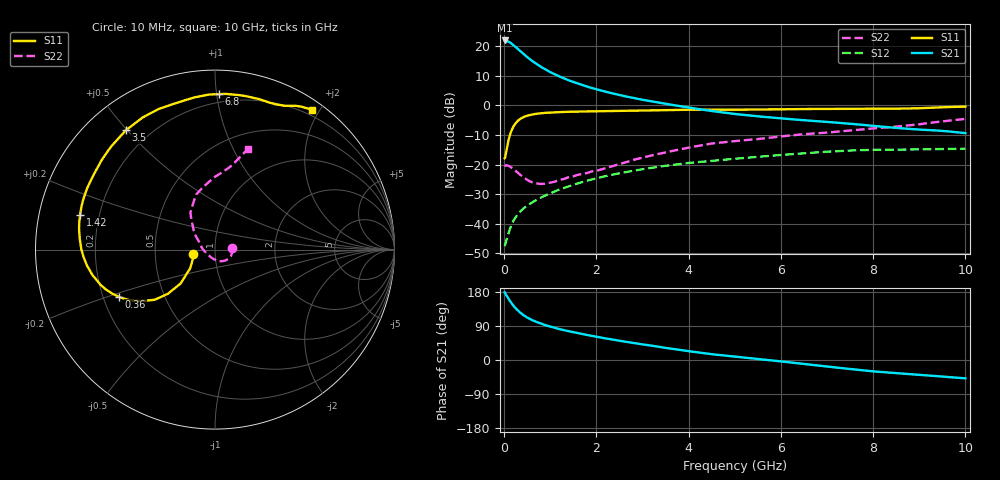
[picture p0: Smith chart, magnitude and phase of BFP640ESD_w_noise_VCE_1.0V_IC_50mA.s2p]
! Infineon Technologies  Discrete & RF Semiconductors
! BFP640ESD
! VCE =  1.0 V,  IC =  50 mA
! Common Emitter S-Parameters:  Jan 2016
# GHz  S  MA  R  50
!  f  S11  S21  S12  S22
! GHz  MAG  ANG  MAG  ANG  MAG  ANG  MAG  ANG
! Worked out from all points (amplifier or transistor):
!   233 points, 10 MHz to 10 GHz, reference 50 ohm
!   highest |S21| = 21.9 dB at 10 MHz (marker M1)
!   |S21| within 3 dB of that: start of sweep to 307.1 MHz
!   unconditionally stable (mu >= 1): start of sweep to end of sweep
!   at 200 MHz: K = 3.48, MAG = 21.3 dB, |S12| = -39.0 dB
!   at 1.74 GHz: K = 1.82, MAG = 10.9 dB, |S12| = -25.7 dB
!   at 10 GHz: K = 1.08, MAG = 0.9 dB, |S12| = -14.7 dB
!   lowest NFmin = 1.46 dB at 450 MHz
!   S11 on the Smith chart (normalised r, x): 10 MHz: 0.78, -0.04; 360 MHz: 0.27, -0.22; 1.42 GHz: 0.13, +0.13; 3.5 GHz: 0.12, +0.50; 6.8 GHz: 0.15, +1.01; 10 GHz: 0.12, +1.91
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0.01  0.1275 -169.4  12.38 178.8  0.0042 12.4  0.0936 5.1
0.05  0.1734 -143.0  12.17 170.3  0.0053 32.8  0.0976 -11.2
0.1  0.2688 -135.4  11.79 160.3  0.0071 43.8  0.0951 -23.4
0.155  0.3669 -137.2  11.05 150.5  0.0095 50.2  0.0893 -35.8
0.2  0.4364 -140.2  10.4 143.3  0.0112 52.1  0.0844 -45.3
0.24  0.4863 -144.1  9.748 137.8  0.0126 53.2  0.0796 -52.6
0.3  0.5492 -149.0  8.869 130.1  0.0147 53.9  0.0725 -63.2
0.36  0.5962 -153.8  8.051 123.9  0.0165 54.5  0.0663 -73.2
0.42  0.6313 -158.0  7.326 118.4  0.0182 54.8  0.0611 -82.0
0.5  0.6677 -163.0  6.49 112.1  0.0203 55.4  0.0551 -94.0
0.6  0.6975 -168.3  5.641 105.6  0.0228 56.0  0.0505 -107.5
0.7  0.719 -172.9  4.973 100.4  0.0253 56.6  0.0483 -120.2
1  0.7535 176.4  3.622 88.0  0.0327 57.6  0.0494 -150.8
1.42  0.7765 165.5  2.6 75.4  0.0435 57.2  0.0617 -174.3
1.68  0.7849 159.8  2.212 68.8  0.0503 56.0  0.0692 176.4
2.4  0.7982 145.4  1.549 52.9  0.0688 50.8  0.0967 155.0
3.4  0.8256 128.5  1.09 34.0  0.0928 41.6  0.1543 139.0
3.5  0.8299 126.8  1.057 31.9  0.0952 40.7  0.1604 137.8
5.1  0.8438 106.2  0.7 7.7  0.1271 25.3  0.2525 122.3
6.8  0.8663 88.6  0.537 -14.5  0.1607 8.5  0.3373 105.0
8.4  0.8735 69.4  0.421 -33.9  0.1778 -10.0  0.4296 85.1
10  0.9484 55.2  0.339 -48.4  0.1844 -23.8  0.5877 72.0
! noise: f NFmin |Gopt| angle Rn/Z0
0.45  1.46  0.32  -168  0.11
0.9  1.47  0.35  -163  0.09
1.9  1.52  0.36  -142  0.13
2.4  1.54  0.37  -134  0.14
5.5  1.81  0.52  -97  0.32
10  2.48  0.61  -71  1.22
